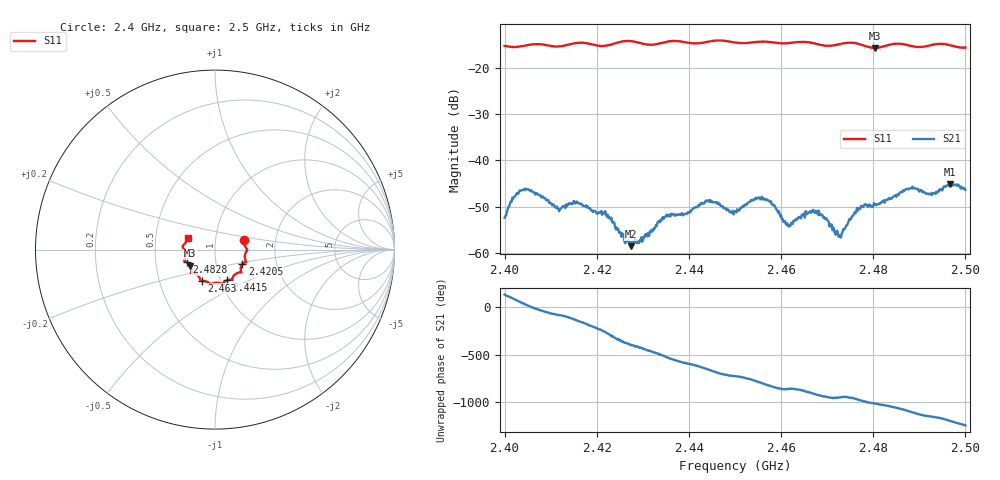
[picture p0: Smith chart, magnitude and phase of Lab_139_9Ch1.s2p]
# Hz S RI R 50
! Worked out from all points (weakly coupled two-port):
!   601 points, 2.4 GHz to 2.5 GHz, reference 50 ohm
!   highest |S21| = -45.17 dB at 2.4967 GHz (marker M1); lowest = -58.6 dB at 2.4275 GHz (marker M2)
!   lowest |S11| = -15.7 dB at 2.4803 GHz (marker M3), VSWR 1.39, Z = 37.4 - j6.84 ohm
!   |S11| at or under -10 dB: start of sweep to end of sweep
!   S12 and S22 are empty: the file has one direction only
!   S11 on the Smith chart (normalised r, x): 2.4 GHz: 1.38, +0.15; 2.4205 GHz: 1.34, -0.23; 2.4415 GHz: 1.07, -0.38; 2.463 GHz: 0.82, -0.29; 2.4828 GHz: 0.72, -0.10; 2.5 GHz: 0.73, +0.10
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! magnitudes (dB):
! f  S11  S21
! 2.4 GHz  -15.3  -52.4
! 2.4022 GHz  -15.5  -47.8
! 2.4043 GHz  -15.2  -46.5
! 2.4117 GHz  -15.4  -50.5
! 2.4167 GHz  -14.6  -49.4
! 2.4205 GHz  -15.2  -51.2
! 2.4275 GHz  -14.3  -58.6
! 2.4333 GHz  -14.8  -53.2
! 2.4415 GHz  -14.7  -50.2
! 2.4442 GHz  -14.4  -48.8
! 2.45 GHz  -14.5  -51.0
! 2.4553 GHz  -14.4  -48.1
! 2.4615 GHz  -14.7  -54.2
! 2.463 GHz  -14.5  -53.1
! 2.4667 GHz  -14.6  -50.9
! 2.4728 GHz  -14.9  -56.5
! 2.4768 GHz  -14.8  -50.3
! 2.4803 GHz  -15.7  -49.6
! 2.4828 GHz  -15.2  -48.6
! 2.4833 GHz  -15.1  -48.5
! 2.4967 GHz  -15.1  -45.2
! 2.5 GHz  -15.6  -46.4
